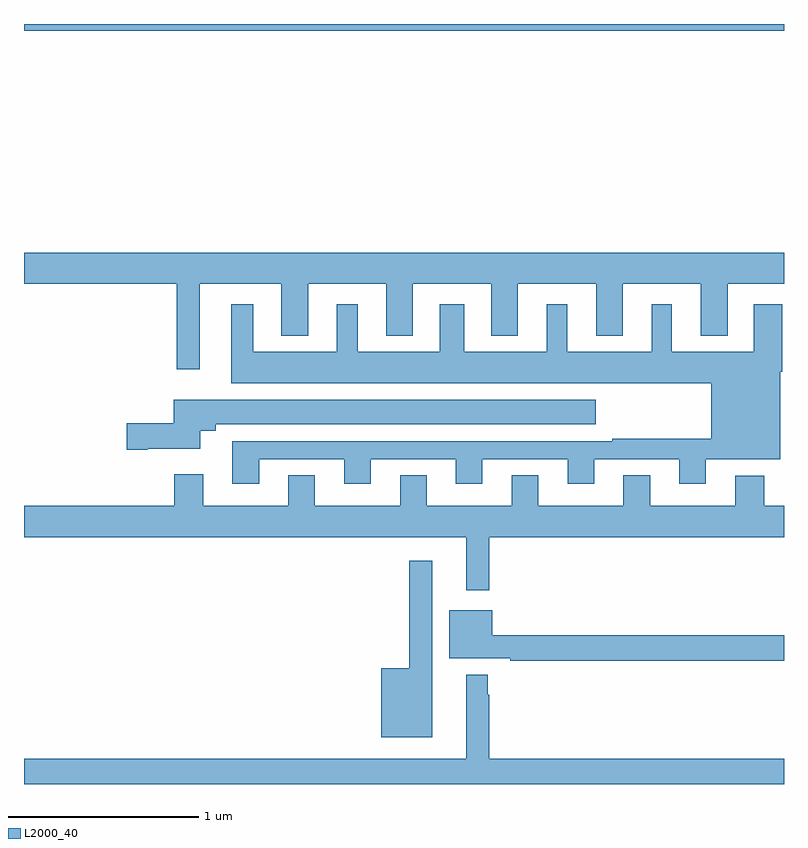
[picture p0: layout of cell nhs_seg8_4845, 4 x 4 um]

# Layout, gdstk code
import gdstk
lib = gdstk.Library(unit=1e-6, precision=1e-09)
def R(c, l, rs):  # rectangles x0, y0, x1, y1
    for r in rs: c.add(gdstk.rectangle(r[:2], r[2:], *l))
def P(c, l, *ps):  # polygons
    for p in ps: c.add(gdstk.Polygon(p, *l))
L2000_40 = (2000, 40)

nhs_seg8_4845 = lib.new_cell('nhs_seg8_4845')
R(nhs_seg8_4845, L2000_40, [(405,1085.864,409,1085.9)])
P(nhs_seg8_4845, L2000_40, [(405.925,1084.532),(406.355,1084.532),(406.355,1084.259),(406.495,1084.259),(406.495,1084.532),(406.907,1084.532),(406.907,1084.259),(407.047,1084.259),(407.047,1084.532),(407.459,1084.532),(407.459,1084.259),(407.599,1084.259),(407.599,1084.532),(408.011,1084.532),(408.011,1084.259),(408.151,1084.259),(408.151,1084.532),(408.563,1084.532),(408.563,1084.259),(408.703,1084.259),(408.703,1084.532),(409,1084.532),(409,1084.696),(405,1084.696),(405,1084.532),(405.804,1084.532),(405.804,1084.083),(405.925,1084.083)],
  [(406.237,1083.609),(406.685,1083.609),(406.685,1083.48),(406.825,1083.48),(406.825,1083.609),(407.273,1083.609),(407.273,1083.48),(407.413,1083.48),(407.413,1083.609),(407.861,1083.609),(407.861,1083.48),(408.001,1083.48),(408.001,1083.609),(408.449,1083.609),(408.449,1083.48),(408.589,1083.48),(408.589,1083.608),(408.979,1083.608),(408.979,1084.07),(408.992,1084.07),(408.992,1084.426),(408.842,1084.426),(408.842,1084.174),(408.409,1084.174),(408.409,1084.426),(408.305,1084.426),(408.305,1084.174),(407.86,1084.174),(407.86,1084.426),(407.75,1084.426),(407.75,1084.174),(407.317,1084.174),(407.317,1084.426),(407.189,1084.426),(407.189,1084.174),(406.756,1084.174),(406.756,1084.426),(406.646,1084.426),(406.646,1084.174),(406.207,1084.174),(406.207,1084.426),(406.091,1084.426),(406.091,1084.01),(408.617,1084.01),(408.617,1083.718),(408.097,1083.718),(408.097,1083.705),(406.097,1083.705),(406.097,1083.48),(406.237,1083.48)],
  [(405.652,1083.665),(405.928,1083.665),(405.928,1083.758),(406.009,1083.758),(406.009,1083.794),(408.01,1083.794),(408.01,1083.922),(405.788,1083.922),(405.788,1083.8),(405.54,1083.8),(405.54,1083.658),(405.652,1083.658)],
  [(407.449,1083.2),(409,1083.2),(409,1083.364),(408.896,1083.364),(408.896,1083.523),(408.743,1083.523),(408.743,1083.364),(408.295,1083.364),(408.295,1083.524),(408.155,1083.524),(408.155,1083.364),(407.707,1083.364),(407.707,1083.524),(407.567,1083.524),(407.567,1083.364),(407.119,1083.364),(407.119,1083.524),(406.979,1083.524),(406.979,1083.364),(406.531,1083.364),(406.531,1083.524),(406.391,1083.524),(406.391,1083.364),(405.943,1083.364),(405.943,1083.529),(405.791,1083.529),(405.791,1083.364),(405,1083.364),(405,1083.2),(407.327,1083.2),(407.327,1082.919),(407.449,1082.919)],
  [(407.149,1083.076),(407.028,1083.076),(407.028,1082.509),(406.88,1082.509),(406.88,1082.147),(407.149,1082.147)],
  [(409,1082.684),(407.464,1082.684),(407.464,1082.815),(407.237,1082.815),(407.237,1082.561),(407.56,1082.561),(407.56,1082.548),(409,1082.548)],
  [(409,1082.032),(407.449,1082.032),(407.449,1082.369),(407.442,1082.369),(407.442,1082.476),(407.327,1082.476),(407.327,1082.032),(405,1082.032),(405,1081.9),(409,1081.9)])

lib.write_gds('nhs_seg8_4845.gds')
